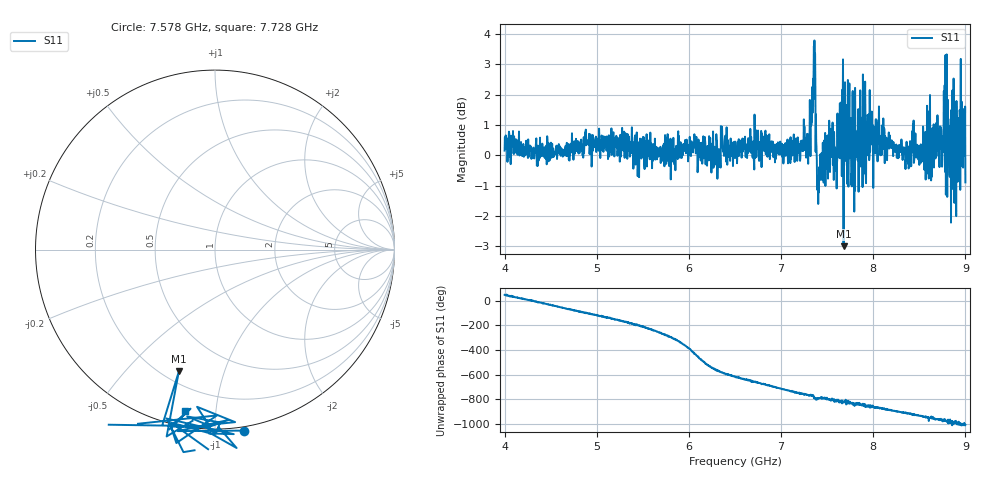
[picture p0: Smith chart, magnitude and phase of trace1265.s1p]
! Created with skrf 1.8.0 (http://scikit-rf.org).
# Hz S RI R 50.0
!freq ReS11 ImS11
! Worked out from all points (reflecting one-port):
!   1601 points, 4 GHz to 9 GHz, reference 50 ohm
!   lowest |S11| = -3.0 dB at 7.678 GHz (marker M1), VSWR 5.85, Z = 13.1 - j35.7 ohm
!   phase of S11 starts at 47 deg and turns -1055 deg over the sweep
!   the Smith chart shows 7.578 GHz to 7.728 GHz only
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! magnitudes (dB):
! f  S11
! 4 GHz  0.2
! 4.625 GHz  0.0
! 4.894 GHz  0.4
! 5.25 GHz  -0.2
! 5.875 GHz  0.1
! 6.5 GHz  -0.1
! 7.125 GHz  0.3
! 7.294 GHz  -0.3
! 7.316 GHz  0.9
! 7.347 GHz  2.5
! 7.362 GHz  3.8
! 7.397 GHz  -1.1
! 7.412 GHz  -0.9
! 7.512 GHz  0.3
! 7.584 GHz  -0.4
! 7.647 GHz  1.0
! 7.678 GHz  -3.0
! 7.75 GHz  1.1
! 7.775 GHz  2.0
! 7.962 GHz  2.1
! 8.375 GHz  -0.1
! 8.441 GHz  -0.3
! 8.612 GHz  0.9
! 8.788 GHz  -1.3
! 8.844 GHz  -2.2
! 8.956 GHz  0.8
! 8.972 GHz  0.5
! 9 GHz  -0.9
